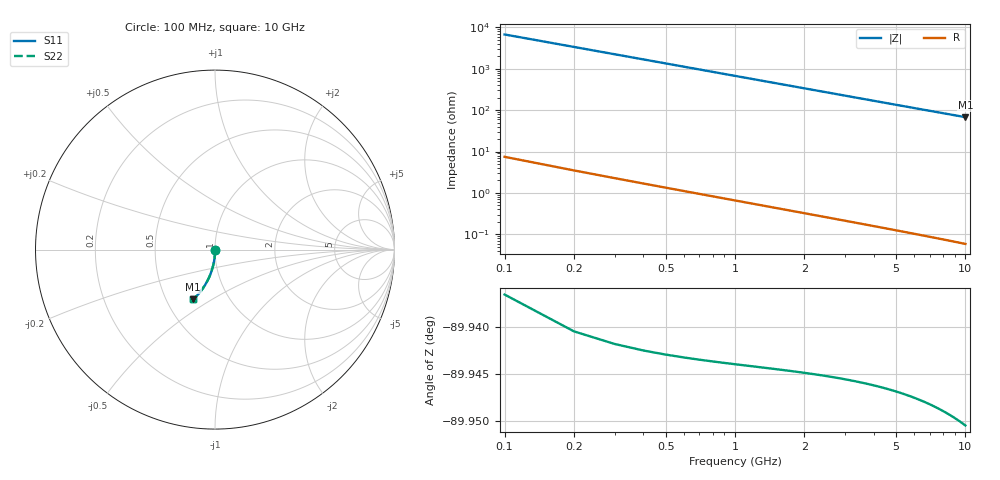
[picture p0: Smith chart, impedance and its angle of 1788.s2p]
# Hz S RI R 50.00
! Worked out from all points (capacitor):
!   100 points, 100 MHz to 10 GHz, reference 50 ohm
!   read as one part in shunt: C = 236 fF near 100 MHz
!   lowest |Z| = 67.7 ohm at 10 GHz (marker M1)
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1e8  0.000316 -0.0032  0.9996 -0.00423  0.9996 -0.00423  0.000316 -0.0032
2e8  0.000274 -0.0064  0.9996 -0.00846  0.9996 -0.00846  0.000274 -0.0064
3e8  0.000205 -0.00959  0.9995 -0.0127  0.9995 -0.0127  0.000205 -0.00959
4e8  0.000108 -0.0128  0.9994 -0.0169  0.9994 -0.0169  0.000108 -0.0128
5e8  -1.66e-05 -0.016  0.9993 -0.0212  0.9993 -0.0212  -1.66e-05 -0.016
6e8  -0.000168 -0.0192  0.9991 -0.0254  0.9991 -0.0254  -0.000168 -0.0192
7e8  -0.000346 -0.0224  0.9989 -0.0296  0.9989 -0.0296  -0.000346 -0.0224
8e8  -0.000552 -0.0256  0.9987 -0.0338  0.9987 -0.0338  -0.000552 -0.0256
9e8  -0.000784 -0.0287  0.9985 -0.0381  0.9985 -0.0381  -0.000784 -0.0287
1.1e9  -0.00133 -0.0351  0.9979 -0.0465  0.9979 -0.0465  -0.00133 -0.0351
1.4e9  -0.00235 -0.0446  0.9968 -0.0591  0.9968 -0.0591  -0.00235 -0.0446
1.8e9  -0.00409 -0.0573  0.995 -0.0759  0.995 -0.0759  -0.00409 -0.0573
2.1e9  -0.00567 -0.0667  0.9934 -0.0885  0.9934 -0.0885  -0.00567 -0.0667
2.5e9  -0.00814 -0.0792  0.9908 -0.1051  0.9908 -0.1051  -0.00814 -0.0792
2.9e9  -0.011 -0.0916  0.9878 -0.1216  0.9878 -0.1216  -0.011 -0.0916
3.4e9  -0.0152 -0.107  0.9834 -0.1421  0.9834 -0.1421  -0.0152 -0.107
4.2e9  -0.0232 -0.131  0.9751 -0.1745  0.9751 -0.1745  -0.0232 -0.131
5.1e9  -0.034 -0.1571  0.9638 -0.21  0.9638 -0.21  -0.034 -0.1571
5.9e9  -0.0452 -0.1795  0.9522 -0.2407  0.9522 -0.2407  -0.0452 -0.1795
6.7e9  -0.0577 -0.2009  0.9391 -0.2704  0.9391 -0.2704  -0.0577 -0.2009
8.4e9  -0.0883 -0.2428  0.9071 -0.3302  0.9071 -0.3302  -0.0883 -0.2428
1e10  -0.1212 -0.2773  0.8726 -0.3816  0.8726 -0.3816  -0.1212 -0.2773
